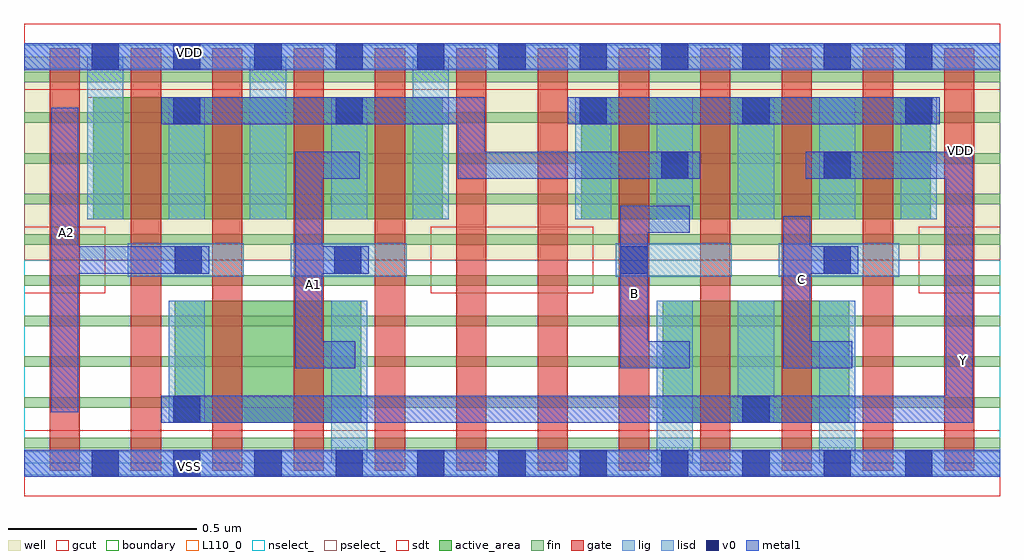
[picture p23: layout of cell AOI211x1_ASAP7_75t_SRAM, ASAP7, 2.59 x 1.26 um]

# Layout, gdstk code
import gdstk
lib = gdstk.Library(unit=1e-6, precision=2.5e-10)
def R(c, l, rs):  # rectangles x0, y0, x1, y1
    for r in rs: c.add(gdstk.rectangle(r[:2], r[2:], *l))
def A(c, l, x, y, w, h, nx, ny, dx, dy):  # array of equal rectangles
    R(c, l, [(x+i*dx, y+j*dy, x+i*dx+w, y+j*dy+h) for i in range(nx) for j in range(ny)])
def P(c, l, *ps):  # polygons
    for p in ps: c.add(gdstk.Polygon(p, *l))
well = (1, 0)
fin = (2, 0)
gate = (7, 0)
gcut = (10, 0)
active_area = (11, 0)
nselect_ = (12, 0)
pselect_ = (13, 0)
lig = (16, 0)
lisd = (17, 0)
v0 = (18, 0)
metal1 = (19, 0)
sdt = (88, 0)
boundary = (100, 0)
L110_0 = (110, 0)

aoi211x1_asap7_75t_sram = lib.new_cell('AOI211x1_ASAP7_75t_SRAM')
R(aoi211x1_asap7_75t_sram, well, [(0,0.54,2.592,1.08)])
A(aoi211x1_asap7_75t_sram, fin, 0, 0.04, 2.592, 0.028, 1, 10, 0, 0.108)
A(aoi211x1_asap7_75t_sram, gate, 0.068, -0.02, 0.08, 1.122, 12, 1, 0.216, 0)
R(aoi211x1_asap7_75t_sram, gcut, [(0,-0.088,2.592,0.088), (0,0.452,0.216,0.628), (1.08,0.452,1.512,0.628), (2.376,0.452,2.592,0.628), (0,0.992,2.592,1.168)])
R(aoi211x1_asap7_75t_sram, active_area, [(0.4,0.108,0.896,0.432), (1.696,0.108,2.192,0.432), (0.184,0.648,1.112,0.972), (1.48,0.648,2.408,0.972)])
R(aoi211x1_asap7_75t_sram, nselect_, [(0,0,2.592,0.54)])
R(aoi211x1_asap7_75t_sram, pselect_, [(0,0.54,2.592,1.08)])
R(aoi211x1_asap7_75t_sram, lig, [(0,-0.032,2.592,0.032), (0.276,0.496,0.584,0.584), (0.708,0.496,1.016,0.584), (1.572,0.496,1.88,0.584), (2.004,0.496,2.324,0.584), (0,1.048,2.592,1.112)])
A(aoi211x1_asap7_75t_sram, lisd, 0.168, 0.648, 0.096, 0.432, 3, 1, 0.432, 0)
A(aoi211x1_asap7_75t_sram, lisd, 1.464, 0.648, 0.096, 0.324, 5, 1, 0.216, 0)
R(aoi211x1_asap7_75t_sram, lisd, [(0.816,0,0.912,0.432), (1.68,0,1.776,0.432), (2.112,0,2.208,0.432), (0.384,0.108,0.48,0.432), (1.896,0.108,1.992,0.432), (0.384,0.648,0.48,0.972), (0.816,0.648,0.912,0.972)])
A(aoi211x1_asap7_75t_sram, v0, 0.18, -0.036, 0.072, 0.072, 11, 2, 0.216, 1.08)
A(aoi211x1_asap7_75t_sram, v0, 1.476, 0.9, 0.072, 0.072, 3, 1, 0.432, 0)
R(aoi211x1_asap7_75t_sram, v0, [(0.396,0.108,0.468,0.18), (1.908,0.108,1.98,0.18), (0.4,0.504,0.472,0.576), (0.824,0.504,0.896,0.576), (1.584,0.504,1.656,0.576), (2.124,0.504,2.196,0.576), (1.692,0.756,1.764,0.828), (2.124,0.756,2.196,0.828), (0.396,0.9,0.468,0.972), (0.828,0.9,0.9,0.972)])
R(aoi211x1_asap7_75t_sram, metal1, [(0,-0.036,2.592,0.036), (1.444,0.9,2.432,0.972), (0,1.044,2.592,1.116)])
P(aoi211x1_asap7_75t_sram, metal1, [(2.52,0.828),(2.076,0.828),(2.076,0.756),(2.448,0.756),(2.448,0.18),(0.364,0.18),(0.364,0.108),(2.52,0.108)],
  [(2.216,0.576),(2.088,0.576),(2.088,0.656),(2.016,0.656),(2.016,0.252),(2.2,0.252),(2.2,0.324),(2.088,0.324),(2.088,0.504),(2.216,0.504)],
  [(1.796,0.828),(1.224,0.828),(1.224,0.972),(0.364,0.972),(0.364,0.9),(1.152,0.9),(1.152,0.756),(1.796,0.756)],
  [(1.768,0.324),(1.656,0.324),(1.656,0.612),(1.768,0.612),(1.768,0.684),(1.584,0.684),(1.584,0.252),(1.768,0.252)],
  [(0.916,0.576),(0.792,0.576),(0.792,0.756),(0.892,0.756),(0.892,0.828),(0.72,0.828),(0.72,0.252),(0.88,0.252),(0.88,0.324),(0.792,0.324),(0.792,0.504),(0.916,0.504)],
  [(0.492,0.576),(0.144,0.576),(0.144,0.944),(0.072,0.944),(0.072,0.136),(0.144,0.136),(0.144,0.504),(0.492,0.504)])
A(aoi211x1_asap7_75t_sram, sdt, 1.68, 0.108, 0.096, 0.324, 3, 1, 0.216, 0)
A(aoi211x1_asap7_75t_sram, sdt, 0.168, 0.648, 0.096, 0.324, 5, 1, 0.216, 0)
A(aoi211x1_asap7_75t_sram, sdt, 1.464, 0.648, 0.096, 0.324, 5, 1, 0.216, 0)
R(aoi211x1_asap7_75t_sram, sdt, [(0.384,0.108,0.48,0.432), (0.816,0.108,0.912,0.432)])
R(aoi211x1_asap7_75t_sram, boundary, [(0,0,2.592,1.08)])
R(aoi211x1_asap7_75t_sram, L110_0, [(0,0,2.592,1.08)])
aoi211x1_asap7_75t_sram.add(gdstk.Label('VSS', (2.764,0.828), layer=3, texttype=251))
aoi211x1_asap7_75t_sram.add(gdstk.Label('VDD', (2.488,0.832), layer=1, texttype=251))
aoi211x1_asap7_75t_sram.add(gdstk.Label('VSS', (0.44,-0.008), layer=19, texttype=251))
aoi211x1_asap7_75t_sram.add(gdstk.Label('VDD', (0.44,1.092), layer=19, texttype=251))
aoi211x1_asap7_75t_sram.add(gdstk.Label('A2', (0.112,0.612), layer=19, texttype=251))
aoi211x1_asap7_75t_sram.add(gdstk.Label('B', (1.62,0.452), layer=19, texttype=251))
aoi211x1_asap7_75t_sram.add(gdstk.Label('C', (2.064,0.488), layer=19, texttype=251))
aoi211x1_asap7_75t_sram.add(gdstk.Label('A1', (0.768,0.476), layer=19, texttype=251))
aoi211x1_asap7_75t_sram.add(gdstk.Label('Y', (2.496,0.272), layer=19, texttype=251))

lib.write_gds('AOI211x1_ASAP7_75t_SRAM.gds')
